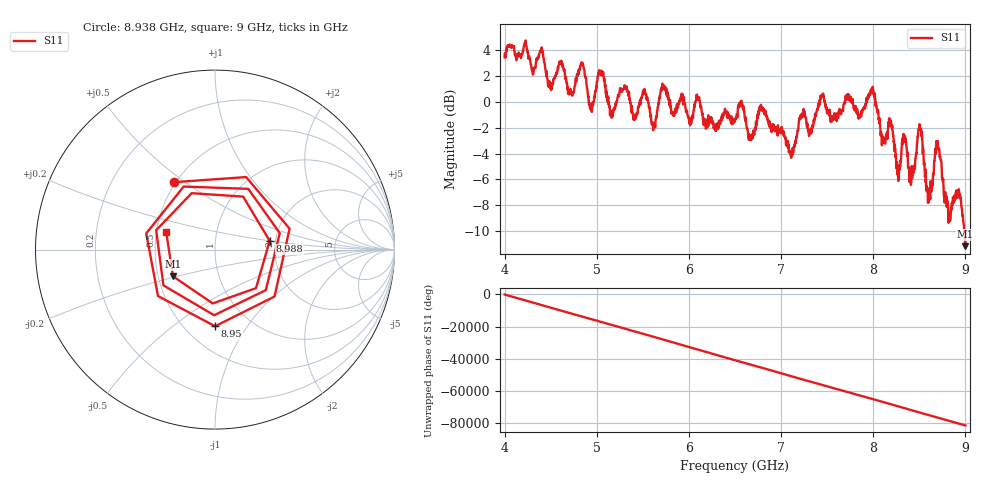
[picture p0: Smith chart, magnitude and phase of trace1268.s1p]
! Created with skrf 1.8.0 (http://scikit-rf.org).
# Hz S RI R 50.0
!freq ReS11 ImS11
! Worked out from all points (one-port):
!   1601 points, 4 GHz to 9 GHz, reference 50 ohm
!   lowest |S11| = -11.1 dB at 8.997 GHz (marker M1), VSWR 1.77, Z = 29.9 - j9.64 ohm
!   |S11| at or under -10 dB: 8.986771 GHz to end of sweep
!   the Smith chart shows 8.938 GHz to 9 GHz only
!   S11 on the Smith chart (normalised r, x): 8.938 GHz: 0.49, +0.45; 8.95 GHz: 0.69, -0.72; 8.988 GHz: 1.86, +0.20; 9 GHz: 0.56, +0.12
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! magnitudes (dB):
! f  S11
! 4 GHz  3.4
! 4.625 GHz  2.7
! 4.712 GHz  0.8
! 4.844 GHz  3.0
! 4.938 GHz  -0.4
! 5.034 GHz  2.3
! 5.159 GHz  -1.1
! 5.25 GHz  0.9
! 5.875 GHz  -0.2
! 6.5 GHz  -1.4
! 6.669 GHz  -3.0
! 6.791 GHz  -0.5
! 7.125 GHz  -3.6
! 7.231 GHz  -1.1
! 7.75 GHz  0.1
! 7.994 GHz  1.1
! 8.269 GHz  -5.6
! 8.375 GHz  -4.3
! 8.428 GHz  -5.7
! 8.506 GHz  -2.0
! 8.594 GHz  -7.8
! 8.694 GHz  -3.4
! 8.822 GHz  -8.8
! 8.938 GHz  -7.1
! 8.95 GHz  -7.4
! 8.988 GHz  -10.2
! 8.997 GHz  -11.1
! 9 GHz  -10.8
